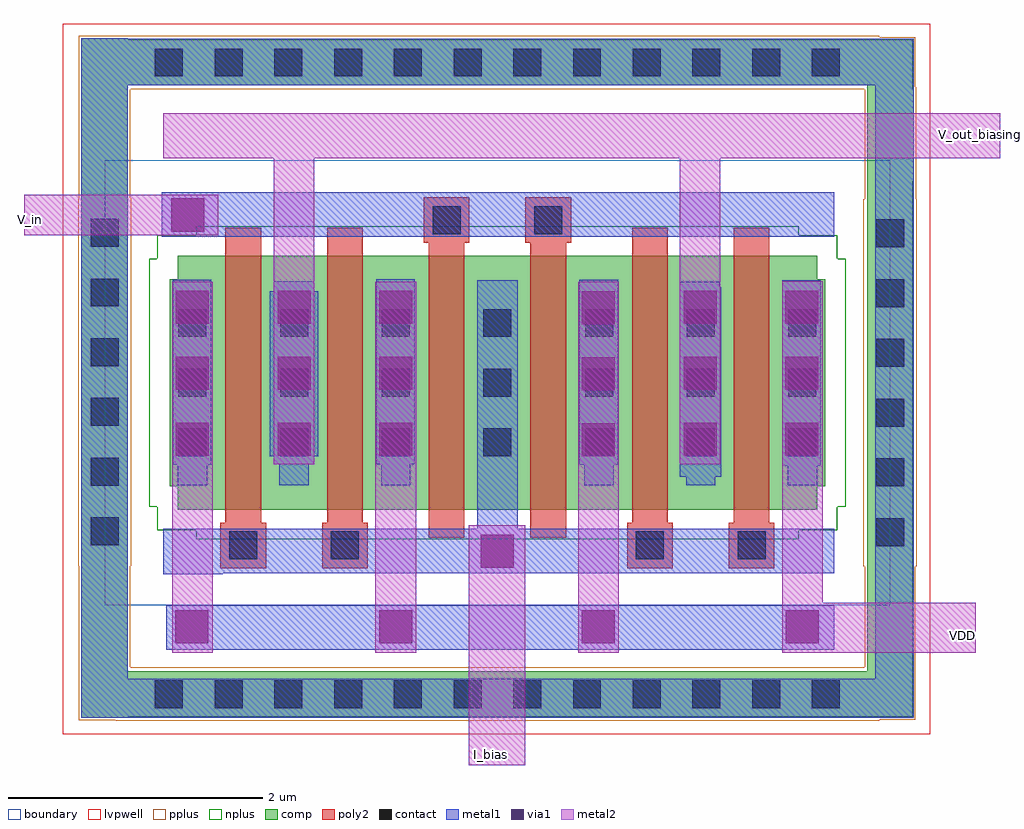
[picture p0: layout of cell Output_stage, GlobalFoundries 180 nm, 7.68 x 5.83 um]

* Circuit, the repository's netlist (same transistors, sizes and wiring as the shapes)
* NGSPICE file created from Output_stage_layout.ext - technology: gf180mcuD

.subckt nfet_03v3_N8FQLR a_n372_n200# a_n436_n292# a_n116_220# a_n516_n163# a_n655_n527#
X0 a_n372_n200# a_n436_n292# a_n516_n163# a_n655_n527# nfet_03v3 ad=0.52p pd=2.52u as=0.85595p ps=4.88u w=2u l=0.28u M=4
X1 a_n516_n163# a_n116_220# a_n436_n292# a_n655_n527# nfet_03v3 ad=0.52p pd=2.52u as=0.52p ps=2.52u w=2u l=0.28u M=2
.ends

.subckt Output_stage_layout I_bias V_in V_out_biasing VDD
Xnfet_03v3_N8FQLR_0 V_out_biasing I_bias V_in VDD m1_n158_415# nfet_03v3_N8FQLR
.ends

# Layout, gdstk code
import gdstk
lib = gdstk.Library(unit=1e-6, precision=1e-09)
def R(c, l, rs):  # rectangles x0, y0, x1, y1
    for r in rs: c.add(gdstk.rectangle(r[:2], r[2:], *l))
def A(c, l, x, y, w, h, nx, ny, dx, dy):  # array of equal rectangles
    R(c, l, [(x+i*dx, y+j*dy, x+i*dx+w, y+j*dy+h) for i in range(nx) for j in range(ny)])
boundary = (0, 0)
comp = (22, 0)
poly2 = (30, 0)
pplus = (31, 0)
nplus = (32, 0)
contact = (33, 0)
metal1 = (34, 0)
via1 = (35, 0)
metal2 = (36, 0)
lvpwell = (204, 0)

nfet_03v3_n8fqlr = lib.new_cell('nfet_03v3_N8FQLR')
R(nfet_03v3_n8fqlr, boundary, [(-3.09,-1.75,3.09,1.75)])
R(nfet_03v3_n8fqlr, comp, [(-3.275,-2.635,-2.91,-2.63), (-3.275,-2.63,3.27,-2.27), (-3.275,-2.27,-2.91,2.34), (2.91,-2.27,3.27,1.59), (-2.515,-1,2.515,-0.815), (-2.58,-0.815,2.58,0.815), (-2.515,0.815,2.515,1), (2.91,1.59,3.275,2.305), (2.91,2.305,3.27,2.34), (-3.275,2.34,3.27,2.7), (-3.275,2.7,-2.91,2.71)])
R(nfet_03v3_n8fqlr, poly2, [(-2.18,-1.46,-1.82,-1.1), (-1.38,-1.46,-1.02,-1.1), (1.02,-1.46,1.38,-1.1), (1.82,-1.46,2.18,-1.1), (-0.54,-1.22,-0.26,1.1), (0.26,-1.22,0.54,1.1), (-2.14,-1.1,-1.86,1.22), (-1.34,-1.1,-1.06,1.22), (1.06,-1.1,1.34,1.22), (1.86,-1.1,2.14,1.22), (-0.58,1.1,-0.22,1.46), (0.22,1.1,0.58,1.46)])
R(nfet_03v3_n8fqlr, pplus, [(-3.005,-2.66,3.005,-2.655), (-3.295,-2.655,3.005,-2.65), (-3.295,-2.65,3.29,-2.24), (-3.295,-2.24,-2.89,-1.44), (2.89,-2.24,3.29,-1.445), (2.88,-1.445,3.3,1.445), (-3.3,-1.44,-2.88,1.45), (2.89,1.445,3.295,2.31), (-3.295,1.45,-2.89,2.31), (-3.295,2.31,3.295,2.325), (-3.295,2.325,3.29,2.72), (-3.295,2.72,3.005,2.73)])
R(nfet_03v3_n8fqlr, nplus, [(-2.37,-1.23,2.37,-1.16), (-2.675,-1.16,2.675,-0.975), (-2.74,-0.975,2.74,0.975), (-2.675,0.975,2.675,1.16), (-2.37,1.16,2.37,1.23)])
A(nfet_03v3_n8fqlr, contact, -2.695, -2.56, 0.22, 0.22, 12, 2, 0.47, 4.97)
A(nfet_03v3_n8fqlr, contact, 2.98, -1.285, 0.22, 0.22, 1, 6, 0, 0.47)
A(nfet_03v3_n8fqlr, contact, -3.2, -1.28, 0.22, 0.22, 1, 6, 0, 0.47)
A(nfet_03v3_n8fqlr, contact, -2.51, -0.58, 0.22, 0.22, 7, 3, 0.8, 0.47)
R(nfet_03v3_n8fqlr, contact, [(-2.11,-1.39,-1.89,-1.17), (-1.31,-1.39,-1.09,-1.17), (1.09,-1.39,1.31,-1.17), (1.89,-1.39,2.11,-1.17), (-0.51,1.17,-0.29,1.39), (0.29,1.17,0.51,1.39)])
R(nfet_03v3_n8fqlr, metal1, [(-3.275,-2.635,3.275,-2.33), (-3.275,-2.33,-2.91,2.34), (2.975,-2.33,3.275,2.34), (-2.605,-2.1,2.65,-1.75), (-2.63,-1.505,-2.16,-1.5), (-2.63,-1.5,2.65,-1.15), (-0.16,-1.15,0.16,0.805), (-2.515,-0.805,-2.285,-0.645), (-1.715,-0.805,-1.485,-0.64), (-0.915,-0.805,-0.685,-0.64), (0.685,-0.805,0.915,-0.645), (1.485,-0.805,1.715,-0.74), (2.285,-0.805,2.515,-0.655), (1.435,-0.74,1.76,0.75), (2.24,-0.655,2.545,0.805), (-2.555,-0.645,-2.25,0.81), (0.645,-0.645,0.95,0.81), (-1.76,-0.64,-1.44,-0.58), (-0.955,-0.64,-0.65,0.815), (-1.79,-0.58,-1.41,0.72), (-1.76,0.72,-1.44,0.8), (1.435,0.75,1.75,0.795), (-2.64,1.15,2.65,1.5), (-3.275,2.34,3.275,2.705), (-3.275,2.705,-2.91,2.71)])
A(nfet_03v3_n8fqlr, via1, 0.665, -0.58, 0.26, 0.26, 1, 3, 0, 0.52)
A(nfet_03v3_n8fqlr, via1, -2.53, -0.575, 0.26, 0.26, 3, 3, 0.8, 0.52)
A(nfet_03v3_n8fqlr, via1, 1.465, -0.575, 0.26, 0.26, 1, 3, 0, 0.52)
A(nfet_03v3_n8fqlr, via1, 2.265, -0.575, 0.26, 0.26, 1, 3, 0, 0.52)
R(nfet_03v3_n8fqlr, via1, [(-2.535,-2.05,-2.275,-1.79), (-0.93,-2.05,-0.67,-1.79), (0.665,-2.05,0.925,-1.79), (2.27,-2.05,2.53,-1.79), (-0.13,-1.455,0.13,-1.195), (-2.565,1.19,-2.305,1.45)])
R(nfet_03v3_n8fqlr, metal2, [(-2.56,-2.125,-2.24,0.795), (-0.96,-2.125,-0.64,0.795), (0.635,-2.125,0.955,0.795), (2.24,-2.125,2.56,0.8), (-0.16,-1.665,0.16,-1.12), (-1.76,-0.64,-1.44,1.765), (1.435,-0.64,1.755,1.765), (-2.73,1.16,-2.195,1.48), (-2.63,1.765,2.625,2.12)])
R(nfet_03v3_n8fqlr, lvpwell, [(-3.42,-2.765,3.405,2.825)])

output_stage = lib.new_cell('Output_stage')
R(output_stage, comp, [(-0.79,-2.1,-0.495,1.625), (-0.79,1.69,-0.495,2.01), (-0.79,2.075,-0.495,2.71)])
R(output_stage, pplus, [(-0.81,-2.12,-0.475,2.73)])
R(output_stage, metal1, [(-0.79,-1.8,-0.495,1.625), (5.455,-1.8,5.75,2.415), (-0.79,1.69,-0.495,2.01), (-0.79,2.075,-0.495,2.415)])
R(output_stage, metal2, [(2.255,-2.48,2.7,-0.59), (4.97,-1.595,6.245,-1.43), (4.92,-1.43,6.245,-1.27), (4.97,-1.27,6.245,-1.2), (-1.245,1.69,-0.1,2.01), (5.045,2.295,6.435,2.65)])
output_stage.add(gdstk.Reference(nfet_03v3_n8fqlr, (2.48,0.53)))
output_stage.add(gdstk.Label('I_bias', (2.425,-2.395), layer=36, texttype=10))
output_stage.add(gdstk.Label('V_in', (-1.19,1.815), layer=36, texttype=10))
output_stage.add(gdstk.Label('V_out_biasing', (6.375,2.485), layer=36, texttype=10))
output_stage.add(gdstk.Label('VDD', (6.14,-1.455), layer=36, texttype=10))

lib.write_gds('Output_stage.gds')
